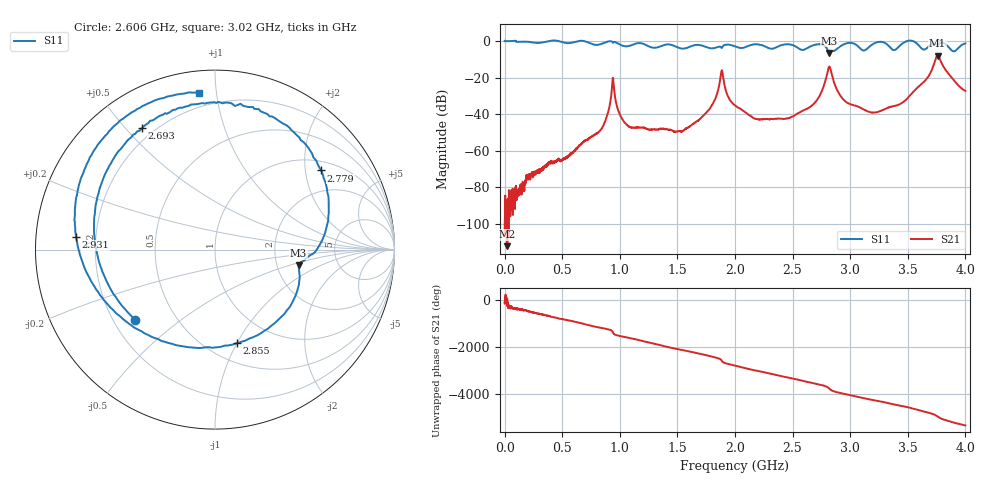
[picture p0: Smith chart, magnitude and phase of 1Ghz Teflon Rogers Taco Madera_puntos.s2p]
! NanoVNA-App
! Date: 2025-10-30 19:12:52
! Start: 10kHz Stop: 4GHz Points: 3201
! S-Parameter data: F S11 S21 S12 S22
# Hz S RI R 50
!  Frequency  S11_Real  S11_Imag  S21_Real  S21_Imag  S12_Real  S12_Imag  S22_Real  S22_Imag
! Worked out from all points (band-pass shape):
!   3201 points, 10 kHz to 4 GHz, reference 50 ohm
!   highest |S21| = -7.95 dB at 3.759 GHz (marker M1); lowest = -112.1 dB at 23.76 MHz (marker M2)
!   |S21| within 3 dB of the highest: 3.735 GHz to 3.785 GHz (50.31 MHz wide, 1.34 % of centre)
!   lowest |S11| = -6.5 dB at 2.819 GHz (marker M3), VSWR 2.80, Z = 132 - j29.7 ohm
!   |S11| at or under -10 dB: nowhere
!   S12 and S22 are empty: the file has one direction only
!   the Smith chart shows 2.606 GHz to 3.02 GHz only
!   S11 on the Smith chart (normalised r, x): 2.606 GHz: 0.29, -0.35; 2.693 GHz: 0.15, +0.56; 2.779 GHz: 1.26, +2.44; 2.855 GHz: 0.68, -1.00; 2.931 GHz: 0.13, +0.05; 3.02 GHz: 0.12, +0.90
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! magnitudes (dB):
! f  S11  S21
! 10 kHz  0.0  -106.8
! 23.76 MHz  0.0  -112.1
! 667.5 MHz  0.2  -56.0
! 847.5 MHz  -1.4  -47.4
! 941.3 MHz  -0.9  -20.2
! 1.063 GHz  -2.9  -45.9
! 1.334 GHz  -3.3  -48.3
! 1.693 GHz  -2.2  -42.9
! 1.885 GHz  -3.8  -16.0
! 2 GHz  -2.9  -35.2
! 2.215 GHz  -1.9  -42.9
! 2.606 GHz  -4.5  -37.5
! 2.668 GHz  -2.5  -35.3
! 2.693 GHz  -2.0  -33.7
! 2.779 GHz  -2.6  -23.0
! 2.819 GHz  -6.5  -13.9
! 2.855 GHz  -5.4  -21.6
! 2.931 GHz  -2.2  -31.3
! 3.02 GHz  -1.1  -34.9
! 3.334 GHz  -2.6  -36.2
! 3.759 GHz  -2.1  -7.9
! 4 GHz  -1.3  -27.3
